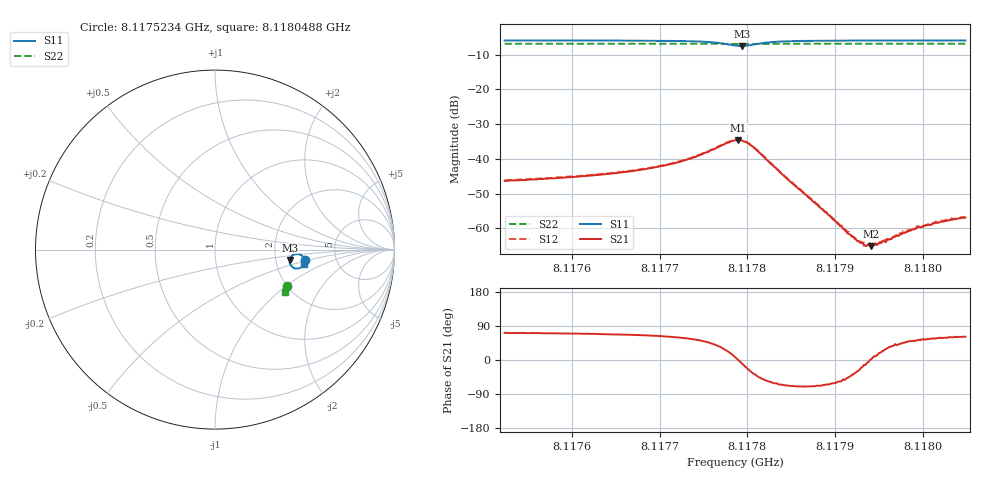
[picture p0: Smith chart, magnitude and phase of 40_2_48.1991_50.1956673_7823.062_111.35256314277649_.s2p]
#  HZ  S  RI  R  50.00
! Rohde & Schwarz Vector Network Analyzer
! Rohde-Schwarz,ZNB20-2Port,1311601062101988,3.16
! Created: UTC 3/20/2024, 11:37:50 AM
! freq[Hz]  re:S11  im:S11  re:S21  im:S21  re:S12  im:S12  re:S22  im:S22
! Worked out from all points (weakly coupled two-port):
!   401 points, 8.1175234 GHz to 8.1180488 GHz, reference 50 ohm
!   highest |S21| = -34.62 dB at 8.11779 GHz (marker M1); lowest = -65.1 dB at 8.1179411 GHz (marker M2)
!   lowest |S11| = -7.5 dB at 8.1177939 GHz (marker M3), VSWR 2.45, Z = 120 - j16.6 ohm
!   |S11| at or under -10 dB: nowhere
!   |S22| runs from -7.0 to -6.9 dB; largest |S21 - S12| = 0.00062
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8.11752338e9  0.5015 -0.0601  0.00152 0.0046  0.00162 0.00467  0.4039 -0.2035
8.11761138e9  0.4991 -0.0702  0.00201 0.00527  0.00206 0.00535  0.4011 -0.2091
8.11766392e9  0.4964 -0.0782  0.0026 0.00602  0.0027 0.00611  0.3995 -0.2125
8.11769938e9  0.4926 -0.0856  0.00349 0.00691  0.0036 0.007  0.3982 -0.215
8.11773878e9  0.4811 -0.0979  0.00609 0.0085  0.00638 0.00867  0.3963 -0.2178
8.11777031e9  0.4484 -0.1052  0.0129 0.00853  0.0133 0.00843  0.3938 -0.2196
8.11778607e9  0.419 -0.0822  0.0183 0.00241  0.0186 0.00238  0.3926 -0.2191
8.11779001e9  0.4156 -0.07  0.0186 -0.000207  0.019 -0.000373  0.3923 -0.2189
8.11779395e9  0.416 -0.0572  0.0182 -0.00287  0.0184 -0.00307  0.3925 -0.2186
8.11780051e9  0.4253 -0.0379  0.0155 -0.00677  0.0156 -0.00689  0.393 -0.2181
8.1178084e9  0.4437 -0.0256  0.0113 -0.00863  0.0113 -0.00891  0.3937 -0.2185
8.11783335e9  0.4826 -0.0328  0.00347 -0.00632  0.00332 -0.00652  0.3944 -0.2206
8.11787407e9  0.4963 -0.0528  0.000902 -0.00234  0.000872 -0.00242  0.3935 -0.224
8.11792398e9  0.4988 -0.0656  0.000585 -0.000376  0.000596 -0.000399  0.392 -0.2275
8.11793448e9  0.4988 -0.0675  0.000556 -0.000136  0.000592 -0.000154  0.3916 -0.2283
8.11794105e9  0.499 -0.0687  0.000555 1.68e-05  0.00059 2.85e-05  0.3914 -0.2287
8.11795025e9  0.499 -0.0702  0.000579 0.000194  0.000586 0.000181  0.391 -0.2294
8.11796207e9  0.4989 -0.0719  0.000578 0.000396  0.000605 0.000363  0.3905 -0.2301
8.11797651e9  0.4989 -0.074  0.000611 0.000599  0.000598 0.000587  0.3902 -0.231
8.11799622e9  0.4987 -0.0766  0.000631 0.000848  0.000666 0.000827  0.3895 -0.2323
8.11803036e9  0.4982 -0.0805  0.000653 0.00115  0.000705 0.00114  0.3884 -0.2345
8.11804875e9  0.4981 -0.0824  0.00069 0.00126  0.000688 0.00127  0.3878 -0.2356
